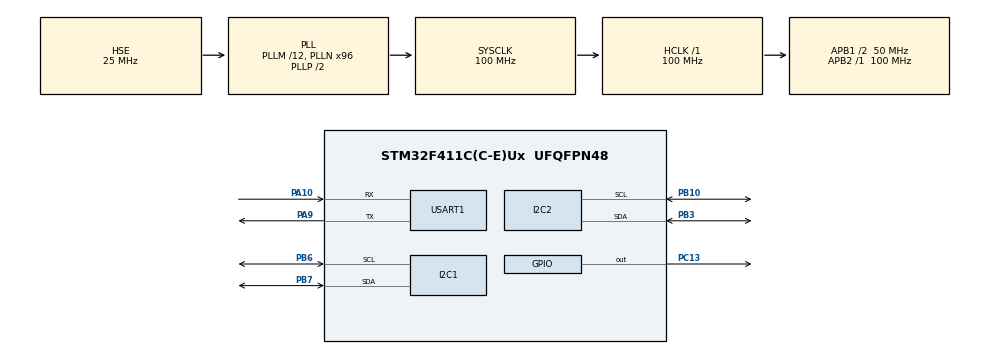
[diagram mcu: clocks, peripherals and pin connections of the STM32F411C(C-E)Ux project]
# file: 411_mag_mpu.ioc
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I2C1.I2C_Mode=I2C_Fast
I2C2.I2C_Mode=I2C_Fast
Mcu.Family=STM32F4
Mcu.Name=STM32F411C(C-E)Ux
Mcu.Package=UFQFPN48
NVIC.PriorityGroup=NVIC_PRIORITYGROUP_4
PA10.Mode=Asynchronous
PA10.Signal=USART1_RX
PA13.Mode=Serial_Wire
PA13.Signal=SYS_JTMS-SWDIO
PA14.Mode=Serial_Wire
PA14.Signal=SYS_JTCK-SWCLK
PA9.Mode=Asynchronous
PA9.Signal=USART1_TX
PB10.Mode=I2C
PB10.Signal=I2C2_SCL
PB3.Mode=I2C
PB3.Signal=I2C2_SDA
PB6.Mode=I2C
PB6.Signal=I2C1_SCL
PB7.Mode=I2C
PB7.Signal=I2C1_SDA
PC13-ANTI_TAMP.Signal=GPIO_Output
PH0\ -\ OSC_IN.Mode=HSE-External-Oscillator
PH0\ -\ OSC_IN.Signal=RCC_OSC_IN
PH1\ -\ OSC_OUT.Mode=HSE-External-Oscillator
PH1\ -\ OSC_OUT.Signal=RCC_OSC_OUT
ProjectManager.HeapSize=0x200
ProjectManager.StackSize=0x400
ProjectManager.TargetToolchain=STM32CubeIDE
RCC.48MHZClocksFreq_Value=50000000
RCC.AHBFreq_Value=100000000
RCC.APB1CLKDivider=RCC_HCLK_DIV2
RCC.APB1Freq_Value=50000000
RCC.APB1TimFreq_Value=100000000
RCC.APB2Freq_Value=100000000
RCC.APB2TimFreq_Value=100000000
RCC.CortexFreq_Value=100000000
RCC.HCLKFreq_Value=100000000
RCC.HSE_VALUE=25000000
RCC.HSI_VALUE=16000000
RCC.LSE_VALUE=32768
RCC.PLLM=12
RCC.PLLN=96
RCC.PLLSourceVirtual=RCC_PLLSOURCE_HSE
RCC.SYSCLKFreq_VALUE=100000000
RCC.SYSCLKSource=RCC_SYSCLKSOURCE_PLLCLK
RCC.VCOOutputFreq_Value=200000000
USART1.VirtualMode=VM_ASYNC
board=custom

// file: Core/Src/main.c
/* USER CODE BEGIN Header */
/**
  ******************************************************************************
  * @file           : main.c
  * @brief          : Main program body
  ******************************************************************************
  * @attention
  *
  * Copyright (c) 2024 STMicroelectronics.
  * All rights reserved.
  *
  * This software is licensed under terms that can be found in the LICENSE file
  * in the root directory of this software component.
  * If no LICENSE file comes with this software, it is provided AS-IS.
  *
  ******************************************************************************
  */
/* USER CODE END Header */
#include "main.h"

/* USER CODE BEGIN Includes */
#include "mag.h"
#include "mpu6050.h"
#include "string.h"
#include "stdlib.h"
#include "stdio.h"
#include "arm_math.h"
/* USER CODE END Includes */

/* USER CODE BEGIN PD */
#define CALIBRATION_TIMEOUT 5000 //timeout in milliseconds
#define RAD_TO_DEG (180.0 / PI)//DEG_PER_RAD (180.0 / PI)
#define DEG_TO_RAD (PI / 180.0)
#define MAG_DECLINATION_E 10.8 // Magnetic declination Orel 52.97 36.06 10.48
/* USER CODE END PD */

I2C_HandleTypeDef hi2c1;
I2C_HandleTypeDef hi2c2;

UART_HandleTypeDef huart1;

/* USER CODE BEGIN PV */
uint8_t magData, delay = 13;
uint8_t isAC = 0, isSB = 0;
int16_t X_RAW, Y_RAW, Z_RAW;

int16_t X_offset;
int16_t Y_offset;
int16_t Z_offset;
uint8_t XY_Offset[6];

float32_t heading  = 0.0f;
float32_t alpha = 0.98;
float64_t dt = 0.02;

int16_t Accel_X_RAW = 0;
int16_t Accel_Y_RAW = 0;
int16_t Accel_Z_RAW = 0;

int16_t Gyro_X_RAW = 0;
int16_t Gyro_Y_RAW = 0;
int16_t Gyro_Z_RAW = 0;

float32_t Ax, Ay, Az, Gx, Gy, Gz;
float32_t fPhi, fThe, fPsi;
float32_t OldfPhi = 1., OldfThe = 1.;
float32_t fSinPhi, fSinThe, fSinPsi;
float32_t fCosPhi, fCosThe, fCosPsi;
float64_t roll, pitch, K_roll, K_pitch;
float64_t theta_x, theta_y;

uint32_t timer = 0;
Kalman_t KalmanX = {
    .Q_angle = 0.001f,
    .Q_bias = 0.003f,
    .R_measure = 0.03f};

Kalman_t KalmanY = {
    .Q_angle = 0.001f,
    .Q_bias = 0.003f,
    .R_measure = 0.03f};

/*
float32_t A[3][3] = {{ 1.098399, 0.031869, -0.082378},
										 { 0.031869, 1.135835,  0.007728},
										 {-0.082378, 0.007728,  1.155759}};
float32_t b[3] = {1067.947654, -574.889729, -1243.537693};
*/

float32_t A[3][3] = {{ 1.098399, -0.031869, -0.082378},
										 { -0.031869, 1.135835,  -0.007728},
										 {-0.082378, -0.007728,  1.155759}};
float32_t b[3] = {1067.947654, 574.889729, -1243.537693};

/*
float32_t A[3][3] = {{ 0.113592,  -0.003187, -0.000773},
										 { -0.003187,  0.109848,  -0.008238},
										 {-0.000773, -0.008238,  0.115585}};
float32_t b[3] = {574.889729, 1067.947654, -1243.537693};
*/

float32_t Mag_cal[3] = {0., 0., 0.};
/* USER CODE END PV */

void SystemClock_Config(void);
static void MX_GPIO_Init(void);
static void MX_I2C1_Init(void);
static void MX_I2C2_Init(void);
static void MX_USART1_UART_Init(void);
/* USER CODE BEGIN PFP */
void I2C_Reset(void);

//MAG3110
void MAG3110_readMag(void);
void MAG3110_readHeading(void);

//void MAG3110_setOffset(void);
void MAG3110_setOffset(int16_t, int16_t, int16_t);
void MAG3110_getOffset(void);
//void MAG3110_setRawMode(void);
void MAG3110_setRawMode(uint8_t);
void MAG3110_setNormalMode(void);
void MAG3110_setActiveMode(void);
void MAG3110_setStandbyMode(void);
uint8_t MAG3110_isActive(void);
uint8_t MAG3110_isStandby(void);
void MAG3110_setDR_OS(uint8_t const DROS);

/* USER CODE END PFP */

int main(void)
{

  /* MCU Configuration--------------------------------------------------------*/

  /* Reset of all peripherals, Initializes the Flash interface and the Systick. */
  HAL_Init();

  /* Configure the system clock */
  SystemClock_Config();

  /* USER CODE BEGIN SysInit */
  I2C_Reset();
  /* USER CODE END SysInit */

  /* Initialize all configured peripherals */
  MX_GPIO_Init();
  MX_I2C1_Init();
  MX_I2C2_Init();
  MX_USART1_UART_Init();
  /* USER CODE BEGIN 2 */
  MPU6050_Init();
  MAG3110_setActiveMode();
  MAG3110_getOffset();
  /* USER CODE END 2 */

  /* Infinite loop */
  /* USER CODE BEGIN WHILE */
  char tx_buffer[70];
  while (1)
  {
  	HAL_GPIO_TogglePin(GPIOC, GPIO_PIN_13);
  	MPU6050_Read_Gyro();
  	MPU6050_Read_Accel();

  	// Заготовка
		/*
  	roll =  atan( Ay / sqrt(Ax * Ax + Az * Az)) * RAD_TO_DEG;
  	pitch = atan(-Ax / sqrt(Ay * Ay + Az * Az)) * RAD_TO_DEG;
  	K_roll  = Kalman_getAngle(&KalmanX,  roll, Gx * DEG_TO_RAD, dt);
  	K_pitch = Kalman_getAngle(&KalmanY, pitch, Gy * DEG_TO_RAD, dt);
  	*/

  	// Заготовка
  	roll =  atan2( Ay, sqrt(Ax * Ax + Az * Az)); //* RAD_TO_DEG;
  	pitch = atan2(-Ax, sqrt(Ay * Ay + Az * Az)); //* RAD_TO_DEG;
  	K_roll  = Kalman_getAngle(&KalmanX,  roll, Gx * DEG_TO_RAD, dt);
  	K_pitch = Kalman_getAngle(&KalmanY, pitch, Gy * DEG_TO_RAD, dt);

  	//MAG3110_readMag();
		MAG3110_readHeading();

  	//sprintf(tx_buffer, "$%d %d %d %f %f %f;", X_RAW, Y_RAW, Z_RAW, Ax, Ay, Az); // SerialPlotPlotter

		sprintf(tx_buffer, "%06.2f", heading);
  	HAL_UART_Transmit(&huart1, tx_buffer, strlen(tx_buffer), 1000);

  	HAL_Delay(delay);

    /* USER CODE END WHILE */

  }
}

void SystemClock_Config(void)
{
  RCC_OscInitTypeDef RCC_OscInitStruct = {0};
  RCC_ClkInitTypeDef RCC_ClkInitStruct = {0};

  /** Configure the main internal regulator output voltage
  */
  __HAL_RCC_PWR_CLK_ENABLE();
  __HAL_PWR_VOLTAGESCALING_CONFIG(PWR_REGULATOR_VOLTAGE_SCALE1);

  /** Initializes the RCC Oscillators according to the specified parameters
  * in the RCC_OscInitTypeDef structure.
  */
  RCC_OscInitStruct.OscillatorType = RCC_OSCILLATORTYPE_HSE;
  RCC_OscInitStruct.HSEState = RCC_HSE_ON;
  RCC_OscInitStruct.PLL.PLLState = RCC_PLL_ON;
  RCC_OscInitStruct.PLL.PLLSource = RCC_PLLSOURCE_HSE;
  RCC_OscInitStruct.PLL.PLLM = 12;
  RCC_OscInitStruct.PLL.PLLN = 96;
  RCC_OscInitStruct.PLL.PLLP = RCC_PLLP_DIV2;
  RCC_OscInitStruct.PLL.PLLQ = 4;
  if (HAL_RCC_OscConfig(&RCC_OscInitStruct) != HAL_OK)
  {
    Error_Handler();
  }

  /** Initializes the CPU, AHB and APB buses clocks
  */
  RCC_ClkInitStruct.ClockType = RCC_CLOCKTYPE_HCLK|RCC_CLOCKTYPE_SYSCLK
                              |RCC_CLOCKTYPE_PCLK1|RCC_CLOCKTYPE_PCLK2;
  RCC_ClkInitStruct.SYSCLKSource = RCC_SYSCLKSOURCE_PLLCLK;
  RCC_ClkInitStruct.AHBCLKDivider = RCC_SYSCLK_DIV1;
  RCC_ClkInitStruct.APB1CLKDivider = RCC_HCLK_DIV2;
  RCC_ClkInitStruct.APB2CLKDivider = RCC_HCLK_DIV1;

  if (HAL_RCC_ClockConfig(&RCC_ClkInitStruct, FLASH_LATENCY_3) != HAL_OK)
  {
    Error_Handler();
  }
}

static void MX_I2C1_Init(void)
{

  hi2c1.Instance = I2C1;
  hi2c1.Init.ClockSpeed = 400000;
  hi2c1.Init.DutyCycle = I2C_DUTYCYCLE_2;
  hi2c1.Init.OwnAddress1 = 0;
  hi2c1.Init.AddressingMode = I2C_ADDRESSINGMODE_7BIT;
  hi2c1.Init.DualAddressMode = I2C_DUALADDRESS_DISABLE;
  hi2c1.Init.OwnAddress2 = 0;
  hi2c1.Init.GeneralCallMode = I2C_GENERALCALL_DISABLE;
  hi2c1.Init.NoStretchMode = I2C_NOSTRETCH_DISABLE;
  if (HAL_I2C_Init(&hi2c1) != HAL_OK)
  {
    Error_Handler();
  }

}

static void MX_I2C2_Init(void)
{

  hi2c2.Instance = I2C2;
  hi2c2.Init.ClockSpeed = 400000;
  hi2c2.Init.DutyCycle = I2C_DUTYCYCLE_2;
  hi2c2.Init.OwnAddress1 = 0;
  hi2c2.Init.AddressingMode = I2C_ADDRESSINGMODE_7BIT;
  hi2c2.Init.DualAddressMode = I2C_DUALADDRESS_DISABLE;
  hi2c2.Init.OwnAddress2 = 0;
  hi2c2.Init.GeneralCallMode = I2C_GENERALCALL_DISABLE;
  hi2c2.Init.NoStretchMode = I2C_NOSTRETCH_DISABLE;
  if (HAL_I2C_Init(&hi2c2) != HAL_OK)
  {
    Error_Handler();
  }

}

static void MX_USART1_UART_Init(void)
{

  huart1.Instance = USART1;
  huart1.Init.BaudRate = 115200;
  huart1.Init.WordLength = UART_WORDLENGTH_8B;
  huart1.Init.StopBits = UART_STOPBITS_1;
  huart1.Init.Parity = UART_PARITY_NONE;
  huart1.Init.Mode = UART_MODE_TX_RX;
  huart1.Init.HwFlowCtl = UART_HWCONTROL_NONE;
  huart1.Init.OverSampling = UART_OVERSAMPLING_16;
  if (HAL_UART_Init(&huart1) != HAL_OK)
  {
    Error_Handler();
  }

}

static void MX_GPIO_Init(void)
{
  GPIO_InitTypeDef GPIO_InitStruct = {0};

  /* GPIO Ports Clock Enable */
  __HAL_RCC_GPIOC_CLK_ENABLE();
  __HAL_RCC_GPIOH_CLK_ENABLE();
  __HAL_RCC_GPIOB_CLK_ENABLE();
  __HAL_RCC_GPIOA_CLK_ENABLE();

  /*Configure GPIO pin Output Level */
  HAL_GPIO_WritePin(GPIOC, GPIO_PIN_13, GPIO_PIN_RESET);

  /*Configure GPIO pin : PC13 */
  GPIO_InitStruct.Pin = GPIO_PIN_13;
  GPIO_InitStruct.Mode = GPIO_MODE_OUTPUT_PP;
  GPIO_InitStruct.Pull = GPIO_NOPULL;
  GPIO_InitStruct.Speed = GPIO_SPEED_FREQ_LOW;
  HAL_GPIO_Init(GPIOC, &GPIO_InitStruct);

}

/* USER CODE BEGIN 4 */
void I2C_Reset(void) {
	// Solution from HAL_BUSY
	// https://istarik.ru/blog/stm32/123.html
	__I2C1_CLK_ENABLE();
	HAL_Delay(100);
	__I2C1_FORCE_RESET();
	HAL_Delay(100);
	__I2C1_RELEASE_RESET();
	HAL_Delay(100);

	__I2C2_CLK_ENABLE();
	HAL_Delay(100);
	__I2C2_FORCE_RESET();
	HAL_Delay(100);
	__I2C2_RELEASE_RESET();
	HAL_Delay(100);
}

void MAG3110_readMag(void) {
	uint8_t Out_XYZ[6];
	HAL_I2C_Mem_Read(&hi2c1, MAG3110_DEV_ADDR_R, OUT_X_MSB, 1, Out_XYZ, 6, 1000);
	X_RAW = (int16_t)(Out_XYZ[0] << 8 | Out_XYZ[1]);
	Y_RAW = (int16_t)(Out_XYZ[2] << 8 | Out_XYZ[3]);
	Z_RAW = (int16_t)(Out_XYZ[4] << 8 | Out_XYZ[5]);
	int16_t XYZ_RAW[3] = {X_RAW, -Y_RAW, Z_RAW};

	for(int i = 0; i < 3; ++i) {
		Mag_cal[i] = 0.;
		for(int j = 0; j < 3; ++j) {
			Mag_cal[i] += A[i][j] * (XYZ_RAW[j] - b[j]);
		}
	}
}

void MAG3110_readHeading(void) {
	MAG3110_readMag();
	float32_t xf = Mag_cal[0];
	float32_t yf = Mag_cal[1];
	float32_t zf = Mag_cal[2];

	//-------------------------------------------------------------------------------

	// fPhi == Roll
	// fThe == Pitch
	// fPsi == Yaw/Heading

	fPhi = atan2(Ay , Az);
	fPhi = 0.7 * OldfPhi + 0.3 * fPhi;
	OldfPhi = fPhi;
	fSinPhi = sin(fPhi);
	fCosPhi = cos(fPhi);

	fThe = atan(-Ax / (Ay * fSinPhi + Az * fCosPhi));
	fThe = 0.7 * OldfThe + 0.3 * fThe;
	OldfThe = fThe;
	fSinThe = sin(fThe);
	fCosThe = cos(fThe);

	fPsi = atan2((zf * fSinPhi - yf * fCosPhi), (xf * fCosThe + yf * fSinThe * fSinPhi + zf * fSinThe * fCosPhi));

	//-------------------------------------------------------------------------------

	// Заготовка
	theta_x = K_roll;
	theta_y = K_pitch;
  //xf = xf * cos(theta_y) + yf * sin(theta_x) * sin(theta_y) + Mag_cal[2] * cos(theta_x) * sin(theta_y);
  //yf = yf * cos(theta_x) - Mag_cal[2] * sin(theta_x);

	// Calculate the heading
	//heading  = (atan2(yf, xf) * RAD_TO_DEG);
	heading = fPsi * RAD_TO_DEG;
	heading = (heading >= 0) ? heading : heading + 360;
}

void MAG3110_setOffset(int16_t x_offset, int16_t y_offset, int16_t z_offset) {
	x_offset = 0;
	x_offset = x_offset << 1;
	magData = (uint8_t)(x_offset >> 8);
	HAL_I2C_Mem_Write(&hi2c1, MAG3110_DEV_ADDR_W, OFF_X_MSB, 1, &magData, 1, 1000);
	magData = (uint8_t)(x_offset & 0xFF);
	HAL_I2C_Mem_Write(&hi2c1, MAG3110_DEV_ADDR_W, OFF_X_LSB, 1, &magData, 1, 1000);

	y_offset = 0;
	y_offset = y_offset << 1;
	magData = (uint8_t)(y_offset >> 8);
	HAL_I2C_Mem_Write(&hi2c1, MAG3110_DEV_ADDR_W, OFF_Y_MSB, 1, &magData, 1, 1000);
	magData = (uint8_t)(y_offset & 0xFF);
	HAL_I2C_Mem_Write(&hi2c1, MAG3110_DEV_ADDR_W, OFF_Y_LSB, 1, &magData, 1, 1000);

	z_offset = 0;
	z_offset = z_offset << 1;
	magData = (uint8_t)(z_offset >> 8);
	HAL_I2C_Mem_Write(&hi2c1, MAG3110_DEV_ADDR_W, OFF_Z_MSB, 1, &magData, 1, 1000);
	magData = (uint8_t)(z_offset & 0xFF);
	HAL_I2C_Mem_Write(&hi2c1, MAG3110_DEV_ADDR_W, OFF_Z_LSB, 1, &magData, 1, 1000);
}

void MAG3110_getOffset(void) {
	HAL_I2C_Mem_Read(&hi2c1, MAG3110_DEV_ADDR_R, OFF_X_MSB, 1, XY_Offset, 6, 1000);
	X_offset = (int16_t)(XY_Offset[0] << 8 | XY_Offset[1]);
	Y_offset = (int16_t)(XY_Offset[2] << 8 | XY_Offset[3]);
	Z_offset = (int16_t)(XY_Offset[4] << 8 | XY_Offset[4]);
}

void MAG3110_setRawMode(uint8_t tf) {
	if(tf == 1) {
		magData = MAG3110_AUTO_MRST_EN | MAG3110_RAW_MODE;
		HAL_I2C_Mem_Write(&hi2c1, MAG3110_DEV_ADDR_W, CTRL_REG2, 1, &magData, 1, 1000);
		HAL_Delay(50);
	} else {
		magData = MAG3110_AUTO_MRST_EN | 0x00;
		HAL_I2C_Mem_Write(&hi2c1, MAG3110_DEV_ADDR_W, CTRL_REG2, 1, &magData, 1, 1000);
		HAL_Delay(50);
	}
}
// дублирование двух функций - в raw-false и normal
void MAG3110_setNormalMode(void) {
	magData = MAG3110_AUTO_MRST_EN | MAG3110_NORMAL_MODE;
	HAL_I2C_Mem_Write(&hi2c1, MAG3110_DEV_ADDR_W, CTRL_REG2, 1, &magData, 1, 1000);
	HAL_Delay(50);
}

void MAG3110_setActiveMode(void) {
	magData = 0;
	HAL_I2C_Mem_Read(&hi2c1, MAG3110_DEV_ADDR_R, CTRL_REG1, 1, &magData, 1, 1000);
	magData |= (1 << 0); // MAG3110_ACTIVE_MODE
	HAL_I2C_Mem_Write(&hi2c1, MAG3110_DEV_ADDR_W, CTRL_REG1, 1, &magData, 1, 1000);
	isAC = 1;
	isSB = 0;
	HAL_Delay(50);
}

void MAG3110_setStandbyMode(void) {
	magData = 0;
	HAL_I2C_Mem_Read(&hi2c1, MAG3110_DEV_ADDR_R, CTRL_REG1, 1, &magData, 1, 1000);
	magData &= ~(1 << 0); // MAG3110_STANDBY_MODE
	HAL_I2C_Mem_Write(&hi2c1, MAG3110_DEV_ADDR_W, CTRL_REG1, 1, &magData, 1, 1000);
	isAC = 0;
	isSB = 1;
	HAL_Delay(50);
}

uint8_t MAG3110_isActive(void) {
	return isAC;
}

uint8_t MAG3110_isStandby(void) {
	return isSB;
}

void MAG3110_setDR_OS(uint8_t const DROS) {
	uint8_t status = MAG3110_isActive();
	if(status) {
		MAG3110_setStandbyMode();
	}
	magData = 0;
	HAL_I2C_Mem_Read(&hi2c1, MAG3110_DEV_ADDR_R, CTRL_REG1, 1, &magData, 1, 1000);
	magData &= 0x07; // оставляем три младших бита
	magData |= DROS;
	HAL_I2C_Mem_Write(&hi2c1, MAG3110_DEV_ADDR_W, CTRL_REG1, 1, &magData, 1, 1000);
	if(status) {
		MAG3110_setActiveMode();
	}
}

void MPU6050_Init(void) {
	uint8_t Data;
	Data = 0;
	HAL_I2C_Mem_Write(&hi2c2, MPU6050_DEV_ADD_AD0_LOW, PWR_MGMT_1_REG, 1,&Data, 1, 1000);

	Data = 0x07;
	HAL_I2C_Mem_Write(&hi2c2, MPU6050_DEV_ADD_AD0_LOW, SMPLRT_DIV_REG, 1, &Data, 1, 1000);

	Data = 0x10; //16
	HAL_I2C_Mem_Write(&hi2c2, MPU6050_DEV_ADD_AD0_LOW, ACCEL_CONFIG_REG, 1, &Data, 1, 1000);

	Data = 0x00;
	HAL_I2C_Mem_Write(&hi2c2, MPU6050_DEV_ADD_AD0_LOW, GYRO_CONFIG_REG, 1, &Data, 1, 1000);
}

void MPU6050_Read_Accel(void) {
	uint8_t Rec_Data[6];

	HAL_I2C_Mem_Read(&hi2c2, MPU6050_DEV_ADD_AD0_LOW, ACCEL_XOUT_H_REG, 1, Rec_Data, 6, 1000);

	Accel_X_RAW = (int16_t)(Rec_Data[0] << 8 | Rec_Data [1]);
	Accel_Y_RAW = (int16_t)(Rec_Data[2] << 8 | Rec_Data [3]);
	Accel_Z_RAW = (int16_t)(Rec_Data[4] << 8 | Rec_Data [5]);

	uint16_t mult = 1;

	Ax =  mult * Accel_X_RAW / 4096.0;
	Ay =  -mult * Accel_Y_RAW / 4096.0;
	Az =  mult * Accel_Z_RAW / 4096.0;
}

void MPU6050_Read_Gyro(void) {
	uint8_t Rec_Data[6];

	HAL_I2C_Mem_Read (&hi2c2, MPU6050_DEV_ADD_AD0_LOW, GYRO_XOUT_H_REG, 1, Rec_Data, 6, 1000);

	Gyro_X_RAW = (int16_t)(Rec_Data[0] << 8 | Rec_Data [1]);
	Gyro_Y_RAW = (int16_t)(Rec_Data[2] << 8 | Rec_Data [3]);
	Gyro_Z_RAW = (int16_t)(Rec_Data[4] << 8 | Rec_Data [5]);

	Gx =  Gyro_X_RAW/131.0;
	Gy =  Gyro_Y_RAW/131.0;
	Gz = -Gyro_Z_RAW/131.0;
}

float64_t Kalman_getAngle(Kalman_t *Kalman, float64_t newAngle, float64_t newRate, float64_t dt) {
	float64_t rate = newRate - Kalman->bias;
	Kalman->angle += dt * rate;

	Kalman->P[0][0] += dt * (dt * Kalman->P[1][1] - Kalman->P[0][1] - Kalman->P[1][0] + Kalman->Q_angle);
	Kalman->P[0][1] -= dt * Kalman->P[1][1];
	Kalman->P[1][0] -= dt * Kalman->P[1][1];
	Kalman->P[1][1] += Kalman->Q_bias * dt;

	float64_t S = Kalman->P[0][0] + Kalman->R_measure;
	float64_t K[2];
	K[0] = Kalman->P[0][0] / S;
	K[1] = Kalman->P[1][0] / S;

	float64_t y = newAngle - Kalman->angle;
	Kalman->angle += K[0] * y;
	Kalman->bias += K[1] * y;

	float64_t P00_temp = Kalman->P[0][0];
	float64_t P01_temp = Kalman->P[0][1];

	Kalman->P[0][0] -= K[0] * P00_temp;
	Kalman->P[0][1] -= K[0] * P01_temp;
	Kalman->P[1][0] -= K[1] * P00_temp;
	Kalman->P[1][1] -= K[1] * P01_temp;

	return Kalman->angle;
};

/* USER CODE END 4 */

void Error_Handler(void)
{
  __disable_irq();
  while (1)
  {
  }
}
